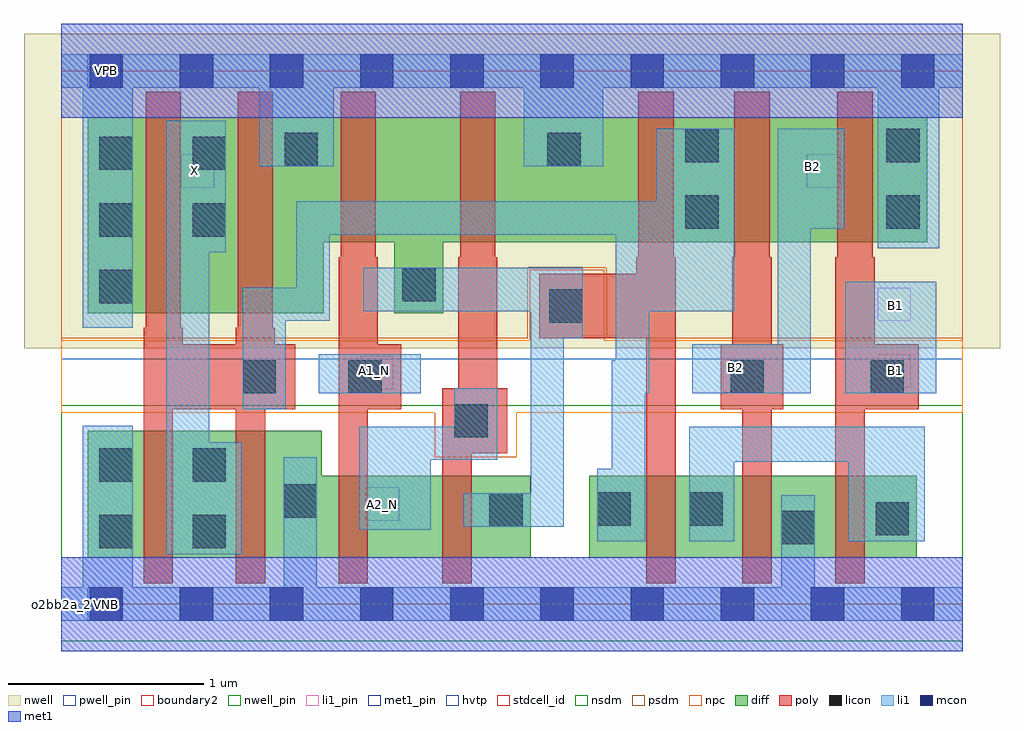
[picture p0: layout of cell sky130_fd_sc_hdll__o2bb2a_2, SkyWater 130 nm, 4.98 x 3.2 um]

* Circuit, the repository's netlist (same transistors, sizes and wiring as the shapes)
* Copyright 2020 The SkyWater PDK Authors
*
* Licensed under the Apache License, Version 2.0 (the "License");
* you may not use this file except in compliance with the License.
* You may obtain a copy of the License at
*
*     https://www.apache.org/licenses/LICENSE-2.0
*
* Unless required by applicable law or agreed to in writing, software
* distributed under the License is distributed on an "AS IS" BASIS,
* WITHOUT WARRANTIES OR CONDITIONS OF ANY KIND, either express or implied.
* See the License for the specific language governing permissions and
* limitations under the License.
*
* SPDX-License-Identifier: Apache-2.0

.SUBCKT sky130_fd_sc_hdll__o2bb2a_2 A1_N A2_N B1 B2 VGND VNB VPB VPWR X
*.PININFO A1_N:I A2_N:I B1:I B2:I VGND:I VNB:I VPB:I VPWR:I X:O
MMIN2 X y VGND VNB sky130_fd_pr__nfet_01v8 m=2 w=0.65U l=0.15U mult=1 sa=0.265
+ sb=0.265 sd=0.28 area=0.063 perim=1.14
MMNnand0 VGND A1_N sndNA1N VNB sky130_fd_pr__nfet_01v8 m=1 w=0.42U l=0.15U mult=1
+ sa=0.265 sb=0.265 sd=0.28 area=0.063 perim=1.14
MMNnand1 sndNA1N A2_N inand VNB sky130_fd_pr__nfet_01v8 m=1 w=0.42U l=0.15U mult=1
+ sa=0.265 sb=0.265 sd=0.28 area=0.063 perim=1.14
MMNaoi10 nmid B1 VGND VNB sky130_fd_pr__nfet_01v8 m=1 w=0.42U l=0.15U mult=1 sa=0.265
+ sb=0.265 sd=0.28 area=0.063 perim=1.14
MMNaoi11 nmid B2 VGND VNB sky130_fd_pr__nfet_01v8 m=1 w=0.42U l=0.15U mult=1 sa=0.265
+ sb=0.265 sd=0.28 area=0.063 perim=1.14
MMNaoi20 y inand nmid VNB sky130_fd_pr__nfet_01v8 m=1 w=0.42U l=0.15U mult=1 sa=0.265
+ sb=0.265 sd=0.28 area=0.063 perim=1.14
MMIP2 X y VPWR VPB sky130_fd_pr__pfet_01v8_hvt m=2 w=1.0U l=0.18U mult=1 sa=0.265
+ sb=0.265 sd=0.28 area=0.063 perim=1.14
MMPnand0 inand A1_N VPWR VPB sky130_fd_pr__pfet_01v8_hvt m=1 w=0.64U l=0.18U mult=1
+ sa=0.265 sb=0.265 sd=0.28 area=0.063 perim=1.14
MMPnand1 inand A2_N VPWR VPB sky130_fd_pr__pfet_01v8_hvt m=1 w=0.64U l=0.18U mult=1
+ sa=0.265 sb=0.265 sd=0.28 area=0.063 perim=1.14
MMPaoi10 VPWR B1 sndPB1 VPB sky130_fd_pr__pfet_01v8_hvt m=1 w=0.64U l=0.18U mult=1
+ sa=0.265 sb=0.265 sd=0.28 area=0.063 perim=1.14
MMPaoi11 sndPB1 B2 y VPB sky130_fd_pr__pfet_01v8_hvt m=1 w=0.64U l=0.18U mult=1
+ sa=0.265 sb=0.265 sd=0.28 area=0.063 perim=1.14
MMPaoi20 y inand VPWR VPB sky130_fd_pr__pfet_01v8_hvt m=1 w=0.64U l=0.18U mult=1
+ sa=0.265 sb=0.265 sd=0.28 area=0.063 perim=1.14
.ENDS sky130_fd_sc_hdll__o2bb2a_2

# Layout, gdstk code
import gdstk
lib = gdstk.Library(unit=1e-6, precision=1e-09)
def R(c, l, rs):  # rectangles x0, y0, x1, y1
    for r in rs: c.add(gdstk.rectangle(r[:2], r[2:], *l))
def A(c, l, x, y, w, h, nx, ny, dx, dy):  # array of equal rectangles
    R(c, l, [(x+i*dx, y+j*dy, x+i*dx+w, y+j*dy+h) for i in range(nx) for j in range(ny)])
def P(c, l, *ps):  # polygons
    for p in ps: c.add(gdstk.Polygon(p, *l))
nwell_pin = (64, 16)
nwell = (64, 20)
diff = (65, 20)
poly = (66, 20)
licon = (66, 44)
li1_pin = (67, 16)
li1 = (67, 20)
mcon = (67, 44)
met1_pin = (68, 16)
met1 = (68, 20)
hvtp = (78, 44)
stdcell_id = (81, 4)
nsdm = (93, 44)
psdm = (94, 20)
npc = (95, 20)
pwell_pin = (122, 16)
boundary2 = (236, 0)

sky130_fd_sc_hdll__o2bb2 = lib.new_cell('sky130_fd_sc_hdll__o2bb2a_2')
R(sky130_fd_sc_hdll__o2bb2, nwell_pin, [(0.135,2.635,0.305,2.805)])
R(sky130_fd_sc_hdll__o2bb2, nwell, [(-0.19,1.305,4.79,2.91)])
R(sky130_fd_sc_hdll__o2bb2, diff, [(2.695,0.235,4.365,0.655)])
P(sky130_fd_sc_hdll__o2bb2, diff, [(4.42,2.485),(0.135,2.485),(0.135,1.485),(1.34,1.485),(1.34,1.845),(1.7,1.845),(1.7,1.485),(1.95,1.485),(1.95,1.845),(4.42,1.845)],
  [(2.395,0.655),(1.33,0.655),(1.33,0.885),(0.135,0.885),(0.135,0.235),(2.395,0.235)])
P(sky130_fd_sc_hdll__o2bb2, poly, [(1.195,1.325),(1.09,1.325),(1.09,1.41),(1.08,1.41),(1.08,2.615),(0.9,2.615),(0.9,1.41),(0.89,1.41),(0.89,1.325),(0.62,1.325),(0.62,1.41),(0.61,1.41),(0.61,2.615),(0.43,2.615),(0.43,1.41),(0.42,1.41),(0.42,0.105),(0.57,0.105),(0.57,0.995),(0.89,0.995),(0.89,0.105),(1.04,0.105),(1.04,0.995),(1.195,0.995)],
  [(1.735,1.325),(1.615,1.325),(1.615,1.77),(1.605,1.77),(1.605,2.615),(1.425,2.615),(1.425,1.77),(1.415,1.77),(1.415,0.105),(1.565,0.105),(1.565,0.995),(1.735,0.995)],
  [(2.275,1.1),(2.225,1.1),(2.225,1.77),(2.215,1.77),(2.215,2.615),(2.035,2.615),(2.035,1.77),(2.025,1.77),(2.025,1.1),(1.945,1.1),(1.945,0.105),(2.095,0.105),(2.095,0.77),(2.275,0.77)],
  [(3.135,1.77),(3.125,1.77),(3.125,2.615),(2.945,2.615),(2.945,1.77),(2.935,1.77),(2.935,1.685),(2.44,1.685),(2.44,1.355),(2.985,1.355),(2.985,0.105),(3.135,0.105)],
  [(3.685,1.325),(3.625,1.325),(3.625,1.77),(3.615,1.77),(3.615,2.615),(3.435,2.615),(3.435,1.77),(3.425,1.77),(3.425,1.325),(3.365,1.325),(3.365,0.995),(3.475,0.995),(3.475,0.105),(3.625,0.105),(3.625,0.995),(3.685,0.995)],
  [(4.375,1.325),(4.15,1.325),(4.15,1.77),(4.14,1.77),(4.14,2.615),(3.96,2.615),(3.96,1.77),(3.95,1.77),(3.95,0.105),(4.1,0.105),(4.1,0.995),(4.375,0.995)])
A(sky130_fd_sc_hdll__o2bb2, licon, 0.195, 1.535, 0.17, 0.17, 1, 3, 0, 0.34)
R(sky130_fd_sc_hdll__o2bb2, licon, [(0.195,0.285,0.365,0.455), (0.67,0.285,0.84,0.455), (3.675,0.305,3.845,0.475), (4.155,0.35,4.325,0.52), (2.185,0.395,2.355,0.565), (2.735,0.4,2.905,0.57), (3.205,0.4,3.375,0.57), (1.135,0.44,1.305,0.61), (0.195,0.625,0.365,0.795), (0.67,0.625,0.84,0.795), (2.005,0.85,2.175,1.02), (0.925,1.075,1.095,1.245), (1.465,1.075,1.635,1.245), (3.415,1.075,3.585,1.245), (4.13,1.075,4.3,1.245), (2.49,1.435,2.66,1.605), (1.74,1.545,1.91,1.715), (0.67,1.875,0.84,2.045), (3.185,1.915,3.355,2.085), (4.21,1.915,4.38,2.085), (0.67,2.215,0.84,2.385), (1.14,2.235,1.31,2.405), (2.48,2.235,2.65,2.405), (3.185,2.255,3.355,2.425), (4.21,2.255,4.38,2.425)])
R(sky130_fd_sc_hdll__o2bb2, li1_pin, [(1.555,0.425,1.725,0.595), (3.375,1.08,3.545,1.25), (1.525,1.095,1.695,1.265), (4.165,1.105,4.335,1.275), (4.165,1.445,4.335,1.615), (0.61,2.125,0.78,2.295), (3.805,2.125,3.975,2.295)])
R(sky130_fd_sc_hdll__o2bb2, li1, [(1.315,1.075,1.835,1.275), (4,1.075,4.465,1.645)])
P(sky130_fd_sc_hdll__o2bb2, li1, [(4.6,0.085),(3.845,0.085),(3.845,0.555),(3.675,0.555),(3.675,0.085),(1.305,0.085),(1.305,0.75),(1.135,0.75),(1.135,0.085),(0.365,0.085),(0.365,0.91),(0.11,0.91),(0.11,0.085),(0,0.085),(0,-0.085),(4.6,-0.085)],
  [(4.6,2.805),(0,2.805),(0,2.635),(0.11,2.635),(0.11,1.41),(0.365,1.41),(0.365,2.635),(1.01,2.635),(1.01,2.235),(1.39,2.235),(1.39,2.635),(2.36,2.635),(2.36,2.235),(2.765,2.235),(2.765,2.635),(4.165,2.635),(4.165,1.815),(4.48,1.815),(4.48,2.635),(4.6,2.635)],
  [(4.405,0.905),(3.205,0.905),(3.205,0.32),(3.435,0.32),(3.435,0.725),(4.015,0.725),(4.015,0.32),(4.405,0.32)],
  [(3.995,2.425),(3.655,2.425),(3.655,1.325),(3.22,1.325),(3.22,1.075),(3.825,1.075),(3.825,1.915),(3.995,1.915)],
  [(3.435,2.425),(3.035,2.425),(3.035,2.055),(1.2,2.055),(1.2,1.615),(0.925,1.615),(0.925,0.995),(1.145,0.995),(1.145,1.445),(1.37,1.445),(1.37,1.885),(2.83,1.885),(2.83,1.245),(2.81,1.245),(2.81,0.69),(2.735,0.69),(2.735,0.32),(2.98,0.32),(2.98,1.075),(3,1.075),(3,1.495),(3.435,1.495)],
  [(2.66,1.715),(1.54,1.715),(1.54,1.495),(2.395,1.495),(2.395,0.565),(2.055,0.565),(2.055,0.395),(2.565,0.395),(2.565,1.355),(2.66,1.355)],
  [(2.225,1.1),(2.005,1.1),(2.005,0.905),(1.52,0.905),(1.52,0.38),(1.885,0.38),(1.885,0.735),(2.225,0.735)],
  [(0.92,0.825),(0.755,0.825),(0.755,1.795),(0.84,1.795),(0.84,2.465),(0.535,2.465),(0.535,0.255),(0.92,0.255)])
A(sky130_fd_sc_hdll__o2bb2, mcon, 0.145, -0.085, 0.17, 0.17, 10, 2, 0.46, 2.72)
R(sky130_fd_sc_hdll__o2bb2, met1_pin, [(0.135,-0.085,0.305,0.085), (0.135,2.635,0.305,2.805)])
R(sky130_fd_sc_hdll__o2bb2, met1, [(0,-0.24,4.6,0.24), (0,2.48,4.6,2.96)])
R(sky130_fd_sc_hdll__o2bb2, hvtp, [(0,1.25,4.6,2.72)])
R(sky130_fd_sc_hdll__o2bb2, stdcell_id, [(0,0,4.6,2.72)])
R(sky130_fd_sc_hdll__o2bb2, nsdm, [(0,-0.19,4.6,1.015)])
P(sky130_fd_sc_hdll__o2bb2, psdm, [(4.6,2.91),(0,2.91),(0,1.355),(2.38,1.355),(2.38,1.715),(2.78,1.715),(2.78,1.355),(4.6,1.355)])
P(sky130_fd_sc_hdll__o2bb2, npc, [(4.6,1.345),(2.77,1.345),(2.77,1.705),(2.39,1.705),(2.39,1.345),(0,1.345),(0,0.975),(1.905,0.975),(1.905,0.75),(2.325,0.75),(2.325,0.975),(4.6,0.975)])
R(sky130_fd_sc_hdll__o2bb2, pwell_pin, [(0.135,-0.085,0.305,0.085)])
R(sky130_fd_sc_hdll__o2bb2, boundary2, [(0,0,4.6,2.72)])
sky130_fd_sc_hdll__o2bb2.add(gdstk.Label('A1_N', (1.6,1.19), layer=67, texttype=5))
sky130_fd_sc_hdll__o2bb2.add(gdstk.Label('X', (0.68,2.21), layer=67, texttype=5))
sky130_fd_sc_hdll__o2bb2.add(gdstk.Label('A2_N', (1.64,0.51), layer=67, texttype=5))
sky130_fd_sc_hdll__o2bb2.add(gdstk.Label('B2', (3.44,1.205), layer=67, texttype=5))
sky130_fd_sc_hdll__o2bb2.add(gdstk.Label('B1', (4.255,1.19), layer=67, texttype=5))
sky130_fd_sc_hdll__o2bb2.add(gdstk.Label('B2', (3.835,2.23), layer=67, texttype=5))
sky130_fd_sc_hdll__o2bb2.add(gdstk.Label('B1', (4.255,1.525), layer=67, texttype=5))
sky130_fd_sc_hdll__o2bb2.add(gdstk.Label('VNB', (0.23,0), layer=64, texttype=59))
sky130_fd_sc_hdll__o2bb2.add(gdstk.Label('VPB', (0.23,2.72), layer=64, texttype=5))
sky130_fd_sc_hdll__o2bb2.add(gdstk.Label('VGND', (0.23,0), layer=68, texttype=5))
sky130_fd_sc_hdll__o2bb2.add(gdstk.Label('VPWR', (0.23,2.72), layer=68, texttype=5))
sky130_fd_sc_hdll__o2bb2.add(gdstk.Label('o2bb2a_2', (0,0), layer=83, texttype=44))

lib.write_gds('sky130_fd_sc_hdll__o2bb2a_2.gds')
